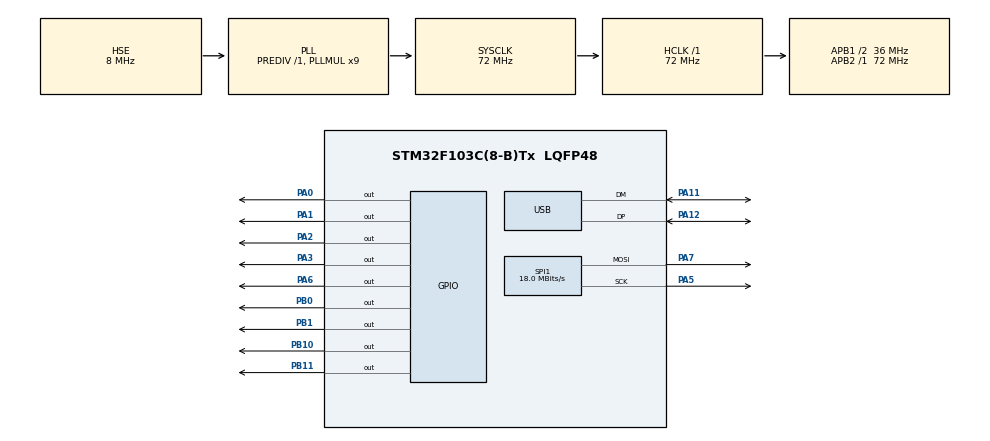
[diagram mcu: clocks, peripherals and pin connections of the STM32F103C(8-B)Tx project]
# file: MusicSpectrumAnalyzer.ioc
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Mcu.Family=STM32F1
Mcu.Name=STM32F103C(8-B)Tx
Mcu.Package=LQFP48
NVIC.PriorityGroup=NVIC_PRIORITYGROUP_4
NVIC.TIM2_IRQn=true\:0\:0\:false\:false\:true\:true\:true\:true
NVIC.USB_LP_CAN1_RX0_IRQn=true\:0\:0\:false\:false\:true\:false\:true\:true
PA0-WKUP.Signal=GPIO_Output
PA1.Signal=GPIO_Output
PA11.Mode=Device
PA11.Signal=USB_DM
PA12.Mode=Device
PA12.Signal=USB_DP
PA13.Mode=Serial_Wire
PA13.Signal=SYS_JTMS-SWDIO
PA14.Mode=Serial_Wire
PA14.Signal=SYS_JTCK-SWCLK
PA2.Signal=GPIO_Output
PA3.Signal=GPIO_Output
PA5.Mode=TX_Only_Simplex_Unidirect_Master
PA5.Signal=SPI1_SCK
PA6.Signal=GPIO_Output
PA7.Mode=TX_Only_Simplex_Unidirect_Master
PA7.Signal=SPI1_MOSI
PB0.Signal=GPIO_Output
PB1.Signal=GPIO_Output
PB10.Signal=GPIO_Output
PB11.Signal=GPIO_Output
PD0-OSC_IN.Mode=HSE-External-Oscillator
PD0-OSC_IN.Signal=RCC_OSC_IN
PD1-OSC_OUT.Mode=HSE-External-Oscillator
PD1-OSC_OUT.Signal=RCC_OSC_OUT
ProjectManager.HeapSize=0x200
ProjectManager.StackSize=0x400
ProjectManager.TargetToolchain=STM32CubeIDE
RCC.AHBFreq_Value=72000000
RCC.APB1CLKDivider=RCC_HCLK_DIV2
RCC.APB1Freq_Value=36000000
RCC.APB1TimFreq_Value=72000000
RCC.APB2Freq_Value=72000000
RCC.APB2TimFreq_Value=72000000
RCC.HCLKFreq_Value=72000000
RCC.PLLMUL=RCC_PLL_MUL9
RCC.PLLSourceVirtual=RCC_PLLSOURCE_HSE
RCC.SYSCLKFreq_VALUE=72000000
RCC.SYSCLKSource=RCC_SYSCLKSOURCE_PLLCLK
RCC.USBFreq_Value=48000000
RCC.USBPrescaler=RCC_USBCLKSOURCE_PLL_DIV1_5
SPI1.BaudRatePrescaler=SPI_BAUDRATEPRESCALER_4
SPI1.CalculateBaudRate=18.0 MBits/s
SPI1.Direction=SPI_DIRECTION_2LINES
SPI1.FirstBit=SPI_FIRSTBIT_LSB
SPI1.Mode=SPI_MODE_MASTER
SPI1.VirtualType=VM_MASTER
TIM2.Period=144-1
TIM2.Prescaler=1-1
USB_DEVICE.APP_RX_DATA_SIZE=64
USB_DEVICE.APP_TX_DATA_SIZE=64
USB_DEVICE.CLASS_NAME_FS=CDC
USB_DEVICE.VirtualMode=Cdc
USB_DEVICE.VirtualModeFS=Cdc_FS
VP_TIM2_VS_ClockSourceINT.Mode=Internal
VP_USB_DEVICE_VS_USB_DEVICE_CDC_FS.Mode=CDC_FS
board=custom

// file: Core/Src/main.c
/* USER CODE BEGIN Header */
/**
  ******************************************************************************
  * @file           : main.c
  * @brief          : Main program body
  ******************************************************************************
  * @attention
  *
  * Copyright (c) 2023 STMicroelectronics.
  * All rights reserved.
  *
  * This software is licensed under terms that can be found in the LICENSE file
  * in the root directory of this software component.
  * If no LICENSE file comes with this software, it is provided AS-IS.
  *
  ******************************************************************************
  */
/* USER CODE END Header */
#include "main.h"
#include "usb_device.h"

/* USER CODE BEGIN Includes */
#include <string.h>
#include "usbd_cdc_if.h"
/* USER CODE END Includes */

/* USER CODE BEGIN PTD */
typedef struct {
	uint8_t red;
	uint8_t green;
	uint8_t blue;
} Color_t;
/* USER CODE END PTD */

/* USER CODE BEGIN PD */
#define 	CDC_BUFFER_SIZE 		8
#define 	ROW_SIZE 				8
#define 	COL_SIZE				8
#define		BIT_NUM					8
#define		RGB_NUM					3
/* USER CODE END PD */

SPI_HandleTypeDef hspi1;

TIM_HandleTypeDef htim2;

/* USER CODE BEGIN PV */
uint8_t RX_buffer[APP_RX_DATA_SIZE];
uint8_t SPI_buffer[ROW_SIZE][BIT_NUM][RGB_NUM];
Color_t primary_color;
Color_t secondary_color;
Color_t tertiary_color;
uint8_t bit_index;
uint8_t row;

const uint8_t TIMER_SCALER[BIT_NUM] = {0, 1, 3, 7, 15, 31, 63, 127};
/* USER CODE END PV */

void SystemClock_Config(void);
static void MX_GPIO_Init(void);
static void MX_TIM2_Init(void);
static void MX_SPI1_Init(void);
/* USER CODE BEGIN PFP */
static void RGBLedMatrix_Init(void);
static void RGBLedMatrix_Display(uint8_t mode, uint8_t* magnitude_levels);
static void RGBLedMatrix_Scan(uint8_t row);
static void RGBLedMatrix_ShiftOut(uint8_t* data, uint8_t size);
static void CDC_ReceivedCallback();
/* USER CODE END PFP */

int main(void)
{

  /* MCU Configuration--------------------------------------------------------*/

  /* Reset of all peripherals, Initializes the Flash interface and the Systick. */
  HAL_Init();

  /* Configure the system clock */
  SystemClock_Config();

  /* Initialize all configured peripherals */
  MX_GPIO_Init();
  MX_TIM2_Init();
  MX_USB_DEVICE_Init();
  MX_SPI1_Init();
  /* USER CODE BEGIN 2 */
  RGBLedMatrix_Init();
  HAL_TIM_Base_Start_IT(&htim2);
  /* USER CODE END 2 */

  /* Infinite loop */
  while (1)
  {

    /* USER CODE BEGIN 3 */
	  if (RX_buffer[0] != '\0') {
		  CDC_ReceivedCallback();
//		  CDC_Transmit_FS(RX_buffer, CDC_BUFFER_SIZE);
		  memset(RX_buffer, '\0', sizeof(RX_buffer));
	  }
  }
  /* USER CODE END 3 */
}

void SystemClock_Config(void)
{
  RCC_OscInitTypeDef RCC_OscInitStruct = {0};
  RCC_ClkInitTypeDef RCC_ClkInitStruct = {0};
  RCC_PeriphCLKInitTypeDef PeriphClkInit = {0};

  /** Initializes the RCC Oscillators according to the specified parameters
  * in the RCC_OscInitTypeDef structure.
  */
  RCC_OscInitStruct.OscillatorType = RCC_OSCILLATORTYPE_HSE;
  RCC_OscInitStruct.HSEState = RCC_HSE_ON;
  RCC_OscInitStruct.HSEPredivValue = RCC_HSE_PREDIV_DIV1;
  RCC_OscInitStruct.HSIState = RCC_HSI_ON;
  RCC_OscInitStruct.PLL.PLLState = RCC_PLL_ON;
  RCC_OscInitStruct.PLL.PLLSource = RCC_PLLSOURCE_HSE;
  RCC_OscInitStruct.PLL.PLLMUL = RCC_PLL_MUL9;
  if (HAL_RCC_OscConfig(&RCC_OscInitStruct) != HAL_OK)
  {
    Error_Handler();
  }

  /** Initializes the CPU, AHB and APB buses clocks
  */
  RCC_ClkInitStruct.ClockType = RCC_CLOCKTYPE_HCLK|RCC_CLOCKTYPE_SYSCLK
                              |RCC_CLOCKTYPE_PCLK1|RCC_CLOCKTYPE_PCLK2;
  RCC_ClkInitStruct.SYSCLKSource = RCC_SYSCLKSOURCE_PLLCLK;
  RCC_ClkInitStruct.AHBCLKDivider = RCC_SYSCLK_DIV1;
  RCC_ClkInitStruct.APB1CLKDivider = RCC_HCLK_DIV2;
  RCC_ClkInitStruct.APB2CLKDivider = RCC_HCLK_DIV1;

  if (HAL_RCC_ClockConfig(&RCC_ClkInitStruct, FLASH_LATENCY_2) != HAL_OK)
  {
    Error_Handler();
  }
  PeriphClkInit.PeriphClockSelection = RCC_PERIPHCLK_USB;
  PeriphClkInit.UsbClockSelection = RCC_USBCLKSOURCE_PLL_DIV1_5;
  if (HAL_RCCEx_PeriphCLKConfig(&PeriphClkInit) != HAL_OK)
  {
    Error_Handler();
  }
}

static void MX_SPI1_Init(void)
{

  /* SPI1 parameter configuration*/
  hspi1.Instance = SPI1;
  hspi1.Init.Mode = SPI_MODE_MASTER;
  hspi1.Init.Direction = SPI_DIRECTION_2LINES;
  hspi1.Init.DataSize = SPI_DATASIZE_8BIT;
  hspi1.Init.CLKPolarity = SPI_POLARITY_LOW;
  hspi1.Init.CLKPhase = SPI_PHASE_1EDGE;
  hspi1.Init.NSS = SPI_NSS_SOFT;
  hspi1.Init.BaudRatePrescaler = SPI_BAUDRATEPRESCALER_4;
  hspi1.Init.FirstBit = SPI_FIRSTBIT_LSB;
  hspi1.Init.TIMode = SPI_TIMODE_DISABLE;
  hspi1.Init.CRCCalculation = SPI_CRCCALCULATION_DISABLE;
  hspi1.Init.CRCPolynomial = 10;
  if (HAL_SPI_Init(&hspi1) != HAL_OK)
  {
    Error_Handler();
  }

}

static void MX_TIM2_Init(void)
{

  TIM_ClockConfigTypeDef sClockSourceConfig = {0};
  TIM_MasterConfigTypeDef sMasterConfig = {0};

  htim2.Instance = TIM2;
  htim2.Init.Prescaler = 1-1;
  htim2.Init.CounterMode = TIM_COUNTERMODE_UP;
  htim2.Init.Period = 288-1;
  htim2.Init.ClockDivision = TIM_CLOCKDIVISION_DIV1;
  htim2.Init.AutoReloadPreload = TIM_AUTORELOAD_PRELOAD_DISABLE;
  if (HAL_TIM_Base_Init(&htim2) != HAL_OK)
  {
    Error_Handler();
  }
  sClockSourceConfig.ClockSource = TIM_CLOCKSOURCE_INTERNAL;
  if (HAL_TIM_ConfigClockSource(&htim2, &sClockSourceConfig) != HAL_OK)
  {
    Error_Handler();
  }
  sMasterConfig.MasterOutputTrigger = TIM_TRGO_RESET;
  sMasterConfig.MasterSlaveMode = TIM_MASTERSLAVEMODE_DISABLE;
  if (HAL_TIMEx_MasterConfigSynchronization(&htim2, &sMasterConfig) != HAL_OK)
  {
    Error_Handler();
  }

}

static void MX_GPIO_Init(void)
{
  GPIO_InitTypeDef GPIO_InitStruct = {0};

  /* GPIO Ports Clock Enable */
  __HAL_RCC_GPIOD_CLK_ENABLE();
  __HAL_RCC_GPIOA_CLK_ENABLE();
  __HAL_RCC_GPIOB_CLK_ENABLE();

  /*Configure GPIO pin Output Level */
  HAL_GPIO_WritePin(GPIOA, GPIO_PIN_0|GPIO_PIN_1|GPIO_PIN_2|GPIO_PIN_3
                          |GPIO_PIN_6, GPIO_PIN_RESET);

  /*Configure GPIO pin Output Level */
  HAL_GPIO_WritePin(GPIOB, GPIO_PIN_0|GPIO_PIN_1|GPIO_PIN_10|GPIO_PIN_11, GPIO_PIN_RESET);

  /*Configure GPIO pins : PA0 PA1 PA2 PA3
                           PA6 */
  GPIO_InitStruct.Pin = GPIO_PIN_0|GPIO_PIN_1|GPIO_PIN_2|GPIO_PIN_3
                          |GPIO_PIN_6;
  GPIO_InitStruct.Mode = GPIO_MODE_OUTPUT_PP;
  GPIO_InitStruct.Pull = GPIO_NOPULL;
  GPIO_InitStruct.Speed = GPIO_SPEED_FREQ_LOW;
  HAL_GPIO_Init(GPIOA, &GPIO_InitStruct);

  /*Configure GPIO pins : PB0 PB1 PB10 PB11 */
  GPIO_InitStruct.Pin = GPIO_PIN_0|GPIO_PIN_1|GPIO_PIN_10|GPIO_PIN_11;
  GPIO_InitStruct.Mode = GPIO_MODE_OUTPUT_PP;
  GPIO_InitStruct.Pull = GPIO_NOPULL;
  GPIO_InitStruct.Speed = GPIO_SPEED_FREQ_LOW;
  HAL_GPIO_Init(GPIOB, &GPIO_InitStruct);

}

/* USER CODE BEGIN 4 */
void HAL_TIM_PeriodElapsedCallback(TIM_HandleTypeDef *htim) {
	__HAL_TIM_SET_PRESCALER(htim, TIMER_SCALER[bit_index]);
	htim->Instance->EGR = TIM_EGR_UG;
	__HAL_TIM_CLEAR_IT(htim, TIM_IT_UPDATE);

	if (bit_index == 0) {
		RGBLedMatrix_Scan(8);
	}
	RGBLedMatrix_ShiftOut(SPI_buffer[row][bit_index], 3);
	if (bit_index == 0) {
		RGBLedMatrix_Scan(row);
	}

	bit_index++;
	if (bit_index == BIT_NUM) {
		bit_index = 0;
		row++;
		if (row == ROW_SIZE) row = 0;
	}
}

static void RGBLedMatrix_Init(void) {
	row = 0;
	bit_index = 0;

	memset(SPI_buffer, 0xFF, sizeof(SPI_buffer));

	primary_color.red = 0x1E;
	primary_color.green = 0x81;
	primary_color.blue = 0xB0;

	secondary_color.red = 0x6C;
	secondary_color.green = 0x25;
	secondary_color.blue = 0xBE;

	tertiary_color.red = 0xBE;
	tertiary_color.green = 0xA9;
	tertiary_color.blue = 0x25;
}

static void RGBLedMatrix_Scan(uint8_t row) {
	HAL_GPIO_WritePin(GPIOA, GPIO_PIN_0, 0);
	HAL_GPIO_WritePin(GPIOA, GPIO_PIN_1, 0);
	HAL_GPIO_WritePin(GPIOA, GPIO_PIN_2, 0);
	HAL_GPIO_WritePin(GPIOA, GPIO_PIN_3, 0);
	HAL_GPIO_WritePin(GPIOB, GPIO_PIN_11, 0);
	HAL_GPIO_WritePin(GPIOB, GPIO_PIN_10, 0);
	HAL_GPIO_WritePin(GPIOB, GPIO_PIN_1, 0);
	HAL_GPIO_WritePin(GPIOB, GPIO_PIN_0, 0);

	switch(row) {
	case 0:
		HAL_GPIO_WritePin(GPIOA, GPIO_PIN_0, 1);
		break;
	case 1:
		HAL_GPIO_WritePin(GPIOA, GPIO_PIN_1, 1);
		break;
	case 2:
		HAL_GPIO_WritePin(GPIOA, GPIO_PIN_2, 1);
		break;
	case 3:
		HAL_GPIO_WritePin(GPIOA, GPIO_PIN_3, 1);
		break;
	case 4:
		HAL_GPIO_WritePin(GPIOB, GPIO_PIN_11, 1);
		break;
	case 5:
		HAL_GPIO_WritePin(GPIOB, GPIO_PIN_10, 1);
		break;
	case 6:
		HAL_GPIO_WritePin(GPIOB, GPIO_PIN_1, 1);
		break;
	case 7:
		HAL_GPIO_WritePin(GPIOB, GPIO_PIN_0, 1);
		break;
	}
}

static void RGBLedMatrix_ShiftOut(uint8_t* data, uint8_t size) {
	HAL_GPIO_WritePin(GPIOA, GPIO_PIN_6, 0);
	HAL_SPI_Transmit(&hspi1, data, size, 1);
	HAL_GPIO_WritePin(GPIOA, GPIO_PIN_6, 1);
}

static void RGBLedMatrix_Display(uint8_t mode, uint8_t* magnitude_levels) {
	uint8_t mark;
	uint8_t marks[ROW_SIZE];
	uint8_t i, j;

	for (i = 0; i < ROW_SIZE; i++) {
		marks[ROW_SIZE - 1 - i] = 0x00;
		for (j = 0; j < COL_SIZE; j++) {
			mark = i < magnitude_levels[j] ? 0 : 1;
			marks[ROW_SIZE - 1 - i] |= (mark << (7 - j));
		}
	}

	switch(mode) {
	case 1:
		for (i = 0; i < ROW_SIZE; i++){
			for (j = 0; j < BIT_NUM; j++) {
				if ((primary_color.blue >> j) & 0x01) {
					SPI_buffer[i][j][0] =  marks[i];
				}
				else {
					SPI_buffer[i][j][0] = 0xFF;
				}

				if ((primary_color.green >> j) & 0x01) {
					SPI_buffer[i][j][1] =  marks[i];
				}
				else {
					SPI_buffer[i][j][1] = 0xFF;
				}

				if ((primary_color.red >> j) & 0x01) {
					SPI_buffer[i][j][2] =  marks[i];
				}
				else {
					SPI_buffer[i][j][2] = 0xFF;
				}
			}
		}
		break;
	case 2:
		for (i = 0; i < ROW_SIZE / 2; i++){
			for (j = 0; j < BIT_NUM; j++) {
				if ((secondary_color.blue >> j) & 0x01) {
					SPI_buffer[i][j][0] =  marks[i];
				}
				else {
					SPI_buffer[i][j][0] = 0xFF;
				}

				if ((secondary_color.green >> j) & 0x01) {
					SPI_buffer[i][j][1] =  marks[i];
				}
				else {
					SPI_buffer[i][j][1] = 0xFF;
				}

				if ((secondary_color.red >> j) & 0x01) {
					SPI_buffer[i][j][2] =  marks[i];
				}
				else {
					SPI_buffer[i][j][2] = 0xFF;
				}
			}
		}
		for (i = ROW_SIZE / 2; i < ROW_SIZE; i++){
			for (j = 0; j < BIT_NUM; j++) {
				if ((primary_color.blue >> j) & 0x01) {
					SPI_buffer[i][j][0] =  marks[i];
				}
				else {
					SPI_buffer[i][j][0] = 0xFF;
				}

				if ((primary_color.green >> j) & 0x01) {
					SPI_buffer[i][j][1] =  marks[i];
				}
				else {
					SPI_buffer[i][j][1] = 0xFF;
				}

				if ((primary_color.red >> j) & 0x01) {
					SPI_buffer[i][j][2] =  marks[i];
				}
				else {
					SPI_buffer[i][j][2] = 0xFF;
				}
			}
		}
		break;
	case 3:
		for (i = 0; i < ROW_SIZE / 3; i++){
			for (j = 0; j < BIT_NUM; j++) {
				if ((tertiary_color.blue >> j) & 0x01) {
					SPI_buffer[i][j][0] =  marks[i];
				}
				else {
					SPI_buffer[i][j][0] = 0xFF;
				}

				if ((tertiary_color.green >> j) & 0x01) {
					SPI_buffer[i][j][1] =  marks[i];
				}
				else {
					SPI_buffer[i][j][1] = 0xFF;
				}

				if ((tertiary_color.red >> j) & 0x01) {
					SPI_buffer[i][j][2] =  marks[i];
				}
				else {
					SPI_buffer[i][j][2] = 0xFF;
				}
			}
		}
		for (i = ROW_SIZE / 3; i <= ROW_SIZE / 2; i++){
			for (j = 0; j < BIT_NUM; j++) {
				if ((secondary_color.blue >> j) & 0x01) {
					SPI_buffer[i][j][0] =  marks[i];
				}
				else {
					SPI_buffer[i][j][0] = 0xFF;
				}

				if ((secondary_color.green >> j) & 0x01) {
					SPI_buffer[i][j][1] =  marks[i];
				}
				else {
					SPI_buffer[i][j][1] = 0xFF;
				}

				if ((secondary_color.red >> j) & 0x01) {
					SPI_buffer[i][j][2] =  marks[i];
				}
				else {
					SPI_buffer[i][j][2] = 0xFF;
				}
			}
		}
		for (i = ROW_SIZE / 2 + 1; i < ROW_SIZE; i++){
			for (j = 0; j < BIT_NUM; j++) {
				if ((primary_color.blue >> j) & 0x01) {
					SPI_buffer[i][j][0] =  marks[i];
				}
				else {
					SPI_buffer[i][j][0] = 0xFF;
				}

				if ((primary_color.green >> j) & 0x01) {
					SPI_buffer[i][j][1] =  marks[i];
				}
				else {
					SPI_buffer[i][j][1] = 0xFF;
				}

				if ((primary_color.red >> j) & 0x01) {
					SPI_buffer[i][j][2] =  marks[i];
				}
				else {
					SPI_buffer[i][j][2] = 0xFF;
				}
			}
		}
		break;
	}
}

static void CDC_ReceivedCallback() {
	uint8_t byte;
	uint8_t magnitude_levels[8];
	uint8_t mode;
	uint8_t color_type;
	Color_t color;
	uint8_t i;

	for (i = 0; i < CDC_BUFFER_SIZE; i++) {
		byte = RX_buffer[i];
		switch(i) {
		case 0:
			mode = byte >> 4;
			color_type = byte & 0x0F;
			break;
		case 1:
			magnitude_levels[0] = byte >> 4;
			magnitude_levels[1] = byte & 0x0F;
			break;
		case 2:
			magnitude_levels[2] = byte >> 4;
			magnitude_levels[3] = byte & 0x0F;
			break;
		case 3:
			magnitude_levels[4] = byte >> 4;
			magnitude_levels[5] = byte & 0x0F;
			break;
		case 4:
			magnitude_levels[6] = byte >> 4;
			magnitude_levels[7] = byte & 0x0F;
			break;
		case 5:
			color.red = byte;
			break;
		case 6:
			color.green = byte;
			break;
		case 7:
			color.blue = byte;
			break;
		}
	}

	switch(color_type) {
	case 1:
		primary_color.red = color.red;
		primary_color.green = color.green;
		primary_color.blue = color.blue;
		break;
	case 2:
		secondary_color.red = color.red;
		secondary_color.green = color.green;
		secondary_color.blue = color.blue;
		break;
	case 3:
		tertiary_color.red = color.red;
		tertiary_color.green = color.green;
		tertiary_color.blue = color.blue;
		break;
	}

	RGBLedMatrix_Display(mode, magnitude_levels);
}
/* USER CODE END 4 */

void Error_Handler(void)
{
  __disable_irq();
  while (1)
  {
  }
}
